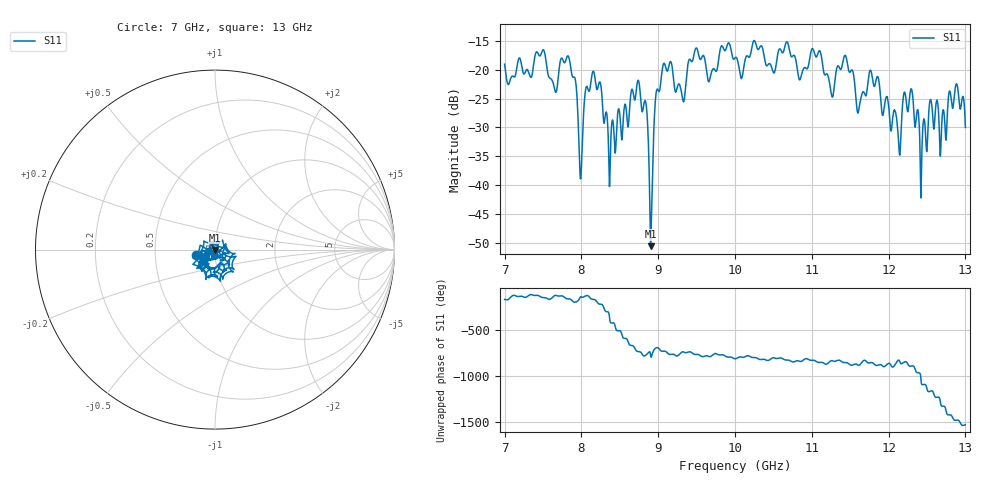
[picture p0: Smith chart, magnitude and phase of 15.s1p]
[Version] 2.0
! Rohde & Schwarz Vector Network Analyzer
! Rohde-Schwarz,ZNL20-2Port,1323001220200009,1.71.1.10-23.02.1.238
! Trace info:
! Nominal Param -> Actual Exported Buffer
! S11 -> S22
! Created: GMT+3 2024-09-24 16:39:28
# Hz S DB R 50
[Number of Ports] 1
! freq[Hz]  S11[mag dB]  S11[ang]
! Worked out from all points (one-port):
!   6001 points, 7 GHz to 13 GHz, reference 50 ohm
!   lowest |S11| = -50.5 dB at 8.901 GHz (marker M1), VSWR 1.01, Z = 50.1 - j0.258 ohm
!   |S11| at or under -10 dB: start of sweep to end of sweep
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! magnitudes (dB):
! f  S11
! 7 GHz  -19.1
! 7.501 GHz  -16.6
! 7.662 GHz  -23.9
! 7.75 GHz  -18.1
! 7.915 GHz  -21.4
! 7.989 GHz  -38.8
! 8.055 GHz  -23.4
! 8.15 GHz  -20.3
! 8.364 GHz  -39.8
! 8.5 GHz  -27.7
! 8.745 GHz  -22.0
! 8.843 GHz  -26.1
! 8.901 GHz  -50.5
! 8.969 GHz  -24.4
! 9.061 GHz  -19.3
! 9.25 GHz  -23.0
! 9.493 GHz  -16.3
! 10 GHz  -18.0
! 10.75 GHz  -17.7
! 11.26 GHz  -24.7
! 11.5 GHz  -20.4
! 11.61 GHz  -27.4
! 11.86 GHz  -21.2
! 12.14 GHz  -34.0
! 12.25 GHz  -27.3
! 12.43 GHz  -39.8
! 12.55 GHz  -25.2
! 13 GHz  -30.0
